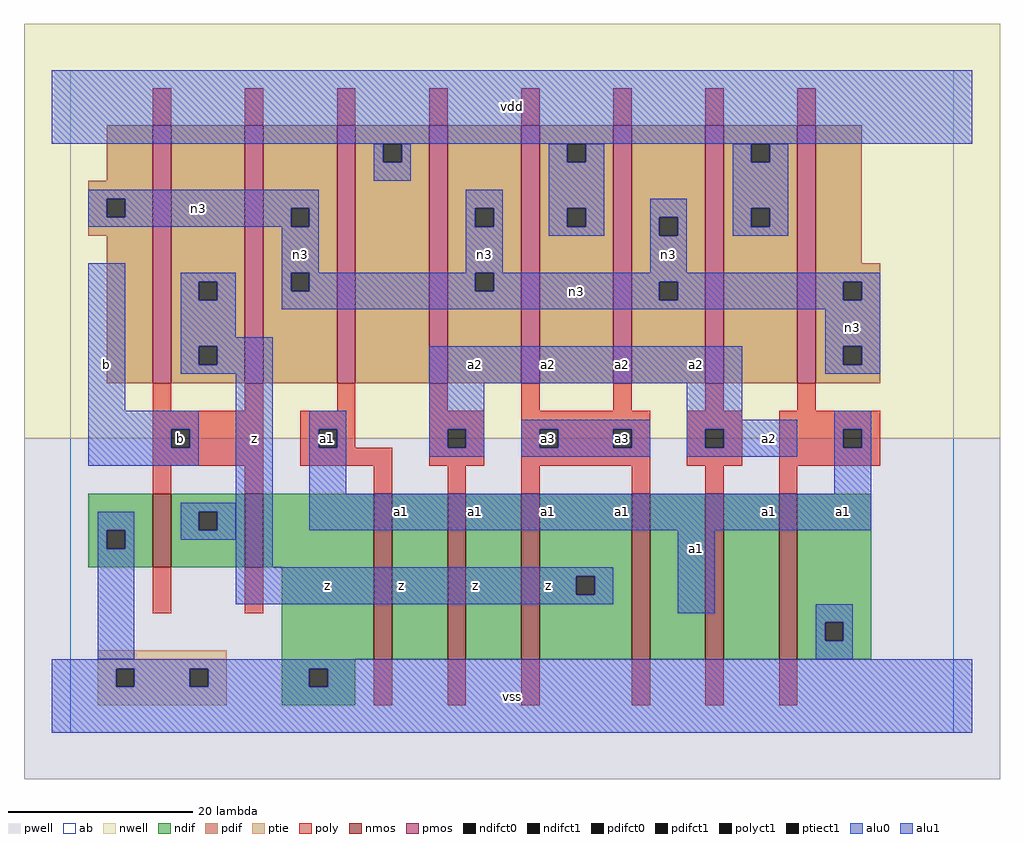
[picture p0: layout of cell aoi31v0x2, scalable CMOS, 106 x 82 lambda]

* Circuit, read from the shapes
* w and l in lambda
.subckt aoi31v0x2 a1 a2 a3 b n3 vdd vss z
M1 z b vss vss nfet w=8 l=2 m=2
M2 n1 a1 vss vss nfet w=18 l=2
M3 n2 a2 n1 vss nfet w=18 l=2
M4 z a3 n2 vss nfet w=18 l=2
M5 n4 a3 z vss nfet w=18 l=2
M6 n5 a2 n4 vss nfet w=18 l=2
M7 vss a1 n5 vss nfet w=18 l=2
M8 z b n3 n6 pfet w=28 l=2 m=2
M9 vdd a1 n3 n6 pfet w=28 l=2 m=2
M10 n3 a2 vdd n6 pfet w=28 l=2 m=2
M11 vdd a3 n3 n6 pfet w=28 l=2 m=2
.ends

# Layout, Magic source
magic
tech scmos
<< ab >>
rect 0 0 96 72
<< nwell >>
rect -5 32 101 77
<< pwell >>
rect -5 -5 101 32
<< poly >>
rect 9 66 11 70
rect 19 66 21 70
rect 29 66 31 70
rect 39 66 41 70
rect 49 66 51 70
rect 59 66 61 70
rect 69 66 71 70
rect 79 66 81 70
rect 9 35 11 38
rect 19 35 21 38
rect 29 35 31 38
rect 9 33 21 35
rect 9 31 11 33
rect 13 31 21 33
rect 9 29 21 31
rect 25 33 31 35
rect 25 31 27 33
rect 29 31 31 33
rect 39 35 41 38
rect 49 35 51 38
rect 59 35 61 38
rect 69 35 71 38
rect 79 35 81 38
rect 39 33 45 35
rect 39 31 41 33
rect 43 31 45 33
rect 25 29 35 31
rect 39 29 45 31
rect 49 33 63 35
rect 49 31 51 33
rect 53 31 59 33
rect 61 31 63 33
rect 49 29 63 31
rect 67 33 73 35
rect 67 31 69 33
rect 71 31 73 33
rect 67 29 73 31
rect 77 33 88 35
rect 77 31 84 33
rect 86 31 88 33
rect 77 29 88 31
rect 9 26 11 29
rect 19 26 21 29
rect 33 26 35 29
rect 41 26 43 29
rect 49 26 51 29
rect 61 26 63 29
rect 69 26 71 29
rect 77 26 79 29
rect 9 13 11 18
rect 19 13 21 18
rect 33 3 35 8
rect 41 3 43 8
rect 49 3 51 8
rect 61 3 63 8
rect 69 3 71 8
rect 77 3 79 8
<< ndif >>
rect 2 22 9 26
rect 2 20 4 22
rect 6 20 9 22
rect 2 18 9 20
rect 11 24 19 26
rect 11 22 14 24
rect 16 22 19 24
rect 11 18 19 22
rect 21 18 33 26
rect 23 8 33 18
rect 35 8 41 26
rect 43 8 49 26
rect 51 17 61 26
rect 51 15 55 17
rect 57 15 61 17
rect 51 8 61 15
rect 63 8 69 26
rect 71 8 77 26
rect 79 12 87 26
rect 79 10 82 12
rect 84 10 87 12
rect 79 8 87 10
rect 23 7 31 8
rect 23 5 26 7
rect 28 5 31 7
rect 23 3 31 5
<< pdif >>
rect 4 60 9 66
rect 2 58 9 60
rect 2 56 4 58
rect 6 56 9 58
rect 2 54 9 56
rect 4 38 9 54
rect 11 49 19 66
rect 11 47 14 49
rect 16 47 19 49
rect 11 42 19 47
rect 11 40 14 42
rect 16 40 19 42
rect 11 38 19 40
rect 21 57 29 66
rect 21 55 24 57
rect 26 55 29 57
rect 21 50 29 55
rect 21 48 24 50
rect 26 48 29 50
rect 21 38 29 48
rect 31 64 39 66
rect 31 62 34 64
rect 36 62 39 64
rect 31 38 39 62
rect 41 57 49 66
rect 41 55 44 57
rect 46 55 49 57
rect 41 50 49 55
rect 41 48 44 50
rect 46 48 49 50
rect 41 38 49 48
rect 51 64 59 66
rect 51 62 54 64
rect 56 62 59 64
rect 51 57 59 62
rect 51 55 54 57
rect 56 55 59 57
rect 51 38 59 55
rect 61 56 69 66
rect 61 54 64 56
rect 66 54 69 56
rect 61 49 69 54
rect 61 47 64 49
rect 66 47 69 49
rect 61 38 69 47
rect 71 64 79 66
rect 71 62 74 64
rect 76 62 79 64
rect 71 57 79 62
rect 71 55 74 57
rect 76 55 79 57
rect 71 38 79 55
rect 81 51 86 66
rect 81 49 88 51
rect 81 47 84 49
rect 86 47 88 49
rect 81 42 88 47
rect 81 40 84 42
rect 86 40 88 42
rect 81 38 88 40
<< alu1 >>
rect -2 64 98 72
rect 2 35 6 51
rect 12 49 18 50
rect 12 47 14 49
rect 16 47 18 49
rect 12 43 18 47
rect 12 42 22 43
rect 12 40 14 42
rect 16 40 22 42
rect 12 39 22 40
rect 2 33 14 35
rect 2 31 11 33
rect 13 31 14 33
rect 2 29 14 31
rect 18 18 22 39
rect 39 38 73 42
rect 26 33 30 35
rect 26 31 27 33
rect 29 31 30 33
rect 26 26 30 31
rect 39 33 45 38
rect 67 34 73 38
rect 39 31 41 33
rect 43 31 45 33
rect 39 30 45 31
rect 49 33 63 34
rect 49 31 51 33
rect 53 31 59 33
rect 61 31 63 33
rect 49 30 63 31
rect 67 33 79 34
rect 67 31 69 33
rect 71 31 79 33
rect 67 30 79 31
rect 83 33 87 35
rect 83 31 84 33
rect 86 31 87 33
rect 83 26 87 31
rect 26 22 87 26
rect 18 17 59 18
rect 18 15 55 17
rect 57 15 59 17
rect 18 14 59 15
rect 66 13 70 22
rect -2 7 98 8
rect -2 5 5 7
rect 7 5 13 7
rect 15 5 26 7
rect 28 5 98 7
rect -2 0 98 5
<< ptie >>
rect 3 7 17 9
rect 3 5 5 7
rect 7 5 13 7
rect 15 5 17 7
rect 3 3 17 5
<< nmos >>
rect 9 18 11 26
rect 19 18 21 26
rect 33 8 35 26
rect 41 8 43 26
rect 49 8 51 26
rect 61 8 63 26
rect 69 8 71 26
rect 77 8 79 26
<< pmos >>
rect 9 38 11 66
rect 19 38 21 66
rect 29 38 31 66
rect 39 38 41 66
rect 49 38 51 66
rect 59 38 61 66
rect 69 38 71 66
rect 79 38 81 66
<< polyct1 >>
rect 11 31 13 33
rect 27 31 29 33
rect 41 31 43 33
rect 51 31 53 33
rect 59 31 61 33
rect 69 31 71 33
rect 84 31 86 33
<< ndifct0 >>
rect 4 20 6 22
rect 14 22 16 24
rect 82 10 84 12
<< ndifct1 >>
rect 55 15 57 17
rect 26 5 28 7
<< ptiect1 >>
rect 5 5 7 7
rect 13 5 15 7
<< pdifct0 >>
rect 4 56 6 58
rect 24 55 26 57
rect 24 48 26 50
rect 34 62 36 64
rect 44 55 46 57
rect 44 48 46 50
rect 54 62 56 64
rect 54 55 56 57
rect 64 54 66 56
rect 64 47 66 49
rect 74 62 76 64
rect 74 55 76 57
rect 84 47 86 49
rect 84 40 86 42
<< pdifct1 >>
rect 14 47 16 49
rect 14 40 16 42
<< alu0 >>
rect 33 62 34 64
rect 36 62 37 64
rect 33 60 37 62
rect 52 62 54 64
rect 56 62 58 64
rect 2 58 27 59
rect 2 56 4 58
rect 6 57 27 58
rect 6 56 24 57
rect 2 55 24 56
rect 26 55 27 57
rect 23 50 27 55
rect 43 57 47 59
rect 43 55 44 57
rect 46 55 47 57
rect 43 50 47 55
rect 52 57 58 62
rect 72 62 74 64
rect 76 62 78 64
rect 52 55 54 57
rect 56 55 58 57
rect 52 54 58 55
rect 63 56 67 58
rect 63 54 64 56
rect 66 54 67 56
rect 72 57 78 62
rect 72 55 74 57
rect 76 55 78 57
rect 72 54 78 55
rect 63 50 67 54
rect 23 48 24 50
rect 26 48 44 50
rect 46 49 88 50
rect 46 48 64 49
rect 23 47 64 48
rect 66 47 84 49
rect 86 47 88 49
rect 23 46 88 47
rect 82 42 88 46
rect 12 24 18 25
rect 3 22 7 24
rect 3 20 4 22
rect 6 20 7 22
rect 12 22 14 24
rect 16 22 18 24
rect 12 21 18 22
rect 3 8 7 20
rect 82 40 84 42
rect 86 40 88 42
rect 82 39 88 40
rect 81 12 85 14
rect 81 10 82 12
rect 84 10 85 12
rect 81 8 85 10
<< labels >>
rlabel alu0 25 52 25 52 6 n3
rlabel alu0 14 57 14 57 6 n3
rlabel alu0 45 52 45 52 6 n3
rlabel alu0 55 48 55 48 6 n3
rlabel alu0 85 44 85 44 6 n3
rlabel alu0 65 52 65 52 6 n3
rlabel polyct1 12 32 12 32 6 b
rlabel alu1 4 40 4 40 6 b
rlabel alu1 28 16 28 16 6 z
rlabel polyct1 28 32 28 32 6 a1
rlabel alu1 20 32 20 32 6 z
rlabel alu1 48 4 48 4 6 vss
rlabel alu1 44 16 44 16 6 z
rlabel alu1 52 16 52 16 6 z
rlabel alu1 36 16 36 16 6 z
rlabel alu1 36 24 36 24 6 a1
rlabel alu1 44 24 44 24 6 a1
rlabel alu1 52 24 52 24 6 a1
rlabel polyct1 52 32 52 32 6 a3
rlabel alu1 44 40 44 40 6 a2
rlabel alu1 52 40 52 40 6 a2
rlabel alu1 48 68 48 68 6 vdd
rlabel alu1 60 24 60 24 6 a1
rlabel alu1 76 24 76 24 6 a1
rlabel alu1 68 20 68 20 6 a1
rlabel alu1 76 32 76 32 6 a2
rlabel polyct1 60 32 60 32 6 a3
rlabel alu1 60 40 60 40 6 a2
rlabel alu1 68 40 68 40 6 a2
rlabel alu1 84 24 84 24 6 a1
<< end >>
